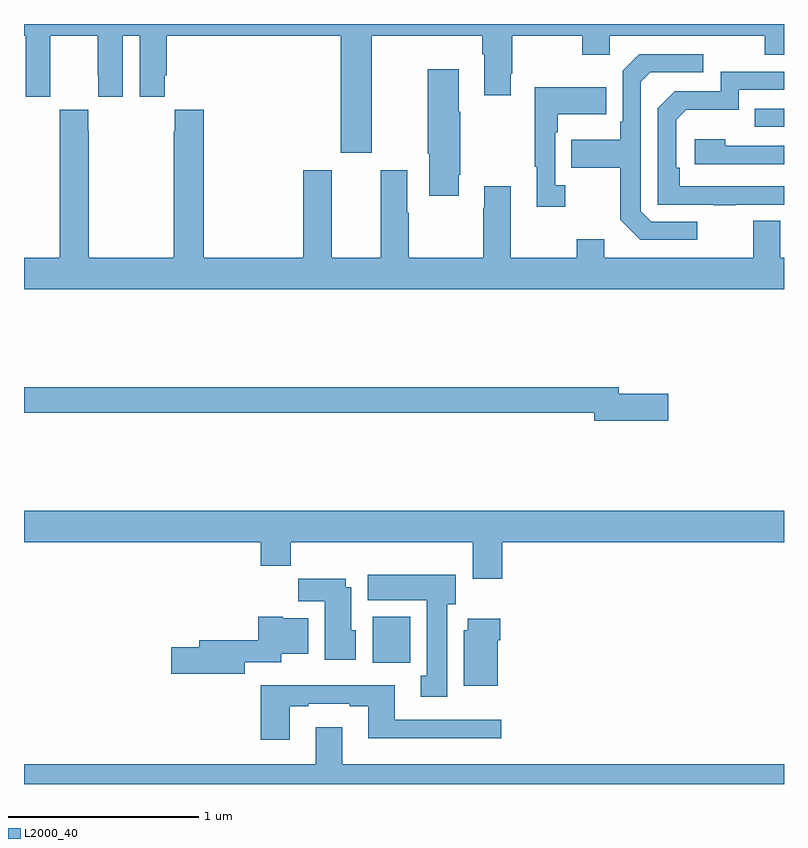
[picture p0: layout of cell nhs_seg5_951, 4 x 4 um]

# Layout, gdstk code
import gdstk
lib = gdstk.Library(unit=1e-6, precision=1e-09)
def R(c, l, rs):  # rectangles x0, y0, x1, y1
    for r in rs: c.add(gdstk.rectangle(r[:2], r[2:], *l))
def P(c, l, *ps):  # polygons
    for p in ps: c.add(gdstk.Polygon(p, *l))
L2000_40 = (2000, 40)

nhs_seg5_951 = lib.new_cell('nhs_seg5_951')
R(nhs_seg5_951, L2000_40, [(172.835,877.436,173.032,877.678), (174.847,880.257,175,880.353)])
P(nhs_seg5_951, L2000_40, [(172.831,880.736),(173.411,880.736),(173.411,880.64),(173.423,880.64),(173.423,880.425),(173.563,880.425),(173.563,880.537),(173.571,880.537),(173.571,880.736),(173.938,880.736),(173.938,880.637),(174.084,880.637),(174.084,880.736),(174.898,880.736),(174.898,880.637),(175,880.637),(175,880.799),(171,880.799),(171,880.736),(171.008,880.736),(171.008,880.416),(171.138,880.416),(171.138,880.528),(171.139,880.528),(171.139,880.736),(171.389,880.736),(171.389,880.528),(171.39,880.528),(171.39,880.416),(171.52,880.416),(171.52,880.736),(171.608,880.736),(171.608,880.416),(171.742,880.416),(171.742,880.528),(171.752,880.528),(171.752,880.736),(172.667,880.736),(172.667,880.122),(172.831,880.122)],
  [(174.544,879.759),(174.3,879.759),(174.246,879.813),(174.246,880.494),(174.297,880.545),(174.574,880.545),(174.574,880.641),(174.237,880.641),(174.15,880.554),(174.15,880.285),(174.138,880.285),(174.138,880.189),(173.881,880.189),(173.881,880.042),(174.138,880.042),(174.138,879.769),(174.243,879.663),(174.544,879.663)],
  [(173.287,880.006),(173.295,880.006),(173.295,880.337),(173.287,880.337),(173.287,880.561),(173.125,880.561),(173.125,880.117),(173.132,880.117),(173.132,879.894),(173.287,879.894)],
  [(174.743,879.849),(175,879.849),(175,879.945),(174.452,879.945),(174.452,880.042),(174.432,880.042),(174.432,880.296),(174.485,880.349),(174.762,880.349),(174.762,880.452),(175,880.452),(175,880.548),(174.666,880.548),(174.666,880.446),(174.426,880.446),(174.336,880.356),(174.336,879.849),(174.631,879.849),(174.631,879.844),(174.743,879.844)],
  [(173.848,879.95),(173.796,879.95),(173.796,880.229),(173.809,880.229),(173.809,880.325),(174.065,880.325),(174.065,880.465),(173.688,880.465),(173.688,880.049),(173.699,880.049),(173.699,879.837),(173.848,879.837)],
  [(175,879.568),(174.979,879.568),(174.979,879.763),(174.839,879.763),(174.839,879.568),(174.055,879.568),(174.055,879.667),(173.908,879.667),(173.908,879.568),(173.563,879.568),(173.563,879.946),(173.423,879.946),(173.423,879.833),(173.416,879.833),(173.416,879.568),(173.025,879.568),(173.025,879.806),(173.017,879.806),(173.017,880.03),(172.877,880.03),(172.877,879.568),(172.621,879.568),(172.621,880.03),(172.469,880.03),(172.469,879.568),(171.947,879.568),(171.947,880.348),(171.793,880.348),(171.793,880.235),(171.787,880.235),(171.787,879.568),(171.342,879.568),(171.342,880.235),(171.339,880.235),(171.339,880.348),(171.189,880.348),(171.189,880.235),(171.187,880.235),(171.187,879.568),(171,879.568),(171,879.404),(175,879.404)],
  [(175,880.158),(174.692,880.158),(174.692,880.192),(174.531,880.192),(174.531,880.062),(175,880.062)],
  [(174.391,878.852),(174.13,878.852),(174.13,878.888),(171,878.888),(171,878.752),(174.002,878.752),(174.002,878.71),(174.391,878.71)],
  [(173.516,878.072),(175,878.072),(175,878.236),(171,878.236),(171,878.072),(172.247,878.072),(172.247,877.948),(172.403,877.948),(172.403,878.072),(173.363,878.072),(173.363,877.878),(173.516,877.878)],
  [(173.227,877.746),(173.272,877.746),(173.272,877.9),(172.808,877.9),(172.808,877.766),(173.12,877.766),(173.12,877.37),(173.087,877.37),(173.087,877.257),(173.227,877.257)],
  [(172.747,877.608),(172.723,877.608),(172.723,877.834),(172.693,877.834),(172.693,877.879),(172.444,877.879),(172.444,877.76),(172.583,877.76),(172.583,877.454),(172.747,877.454)],
  [(172.162,877.44),(172.354,877.44),(172.354,877.484),(172.495,877.484),(172.495,877.672),(172.362,877.672),(172.362,877.678),(172.232,877.678),(172.232,877.556),(171.923,877.556),(171.923,877.52),(171.774,877.52),(171.774,877.378),(172.162,877.378)],
  [(173.494,877.556),(173.507,877.556),(173.507,877.669),(173.336,877.669),(173.336,877.608),(173.315,877.608),(173.315,877.316),(173.494,877.316)],
  [(172.399,877.209),(172.495,877.209),(172.495,877.221),(172.715,877.221),(172.715,877.209),(172.811,877.209),(172.811,877.04),(173.512,877.04),(173.512,877.137),(172.951,877.137),(172.951,877.318),(172.247,877.318),(172.247,877.032),(172.399,877.032)],
  [(175,876.904),(172.675,876.904),(172.675,877.099),(172.535,877.099),(172.535,876.904),(171,876.904),(171,876.799),(175,876.799)])

lib.write_gds('nhs_seg5_951.gds')
